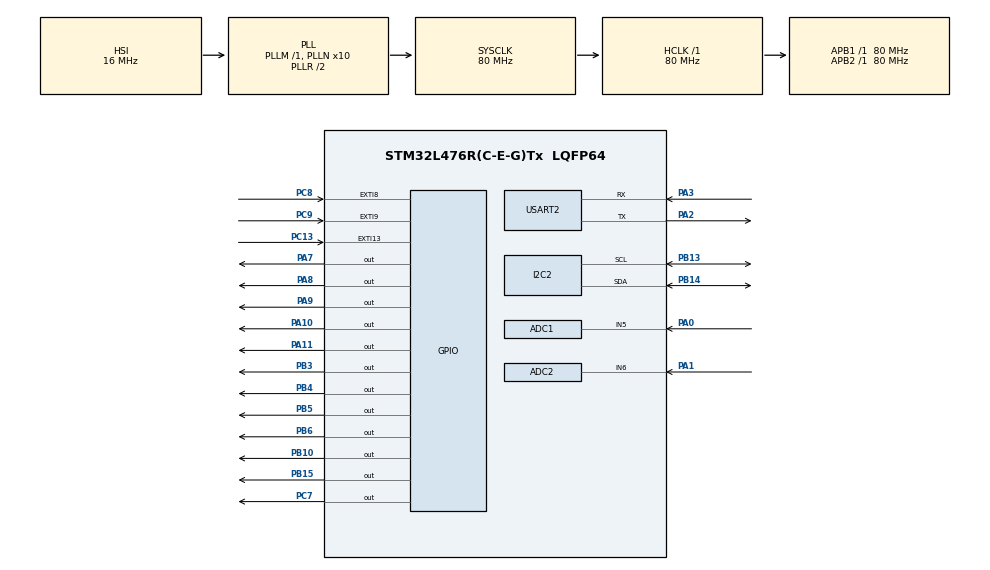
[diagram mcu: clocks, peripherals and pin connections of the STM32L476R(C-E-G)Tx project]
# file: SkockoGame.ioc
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ADC1.Channel-0\#ChannelRegularConversion=ADC_CHANNEL_5
ADC1.NbrOfConversionFlag=1
ADC1.OffsetNumber-0\#ChannelRegularConversion=ADC_OFFSET_NONE
ADC1.Rank-0\#ChannelRegularConversion=1
ADC1.SamplingTime-0\#ChannelRegularConversion=ADC_SAMPLETIME_47CYCLES_5
ADC1.master=1
ADC2.Channel-0\#ChannelRegularConversion=ADC_CHANNEL_6
ADC2.NbrOfConversion=1
ADC2.NbrOfConversionFlag=1
ADC2.OffsetNumber-0\#ChannelRegularConversion=ADC_OFFSET_NONE
ADC2.Rank-0\#ChannelRegularConversion=1
ADC2.SamplingTime-0\#ChannelRegularConversion=ADC_SAMPLETIME_92CYCLES_5
Dma.I2C2_TX.0.Direction=DMA_MEMORY_TO_PERIPH
Dma.I2C2_TX.0.Instance=DMA1_Channel4
Dma.I2C2_TX.0.MemDataAlignment=DMA_MDATAALIGN_BYTE
Dma.I2C2_TX.0.MemInc=DMA_MINC_ENABLE
Dma.I2C2_TX.0.Mode=DMA_NORMAL
Dma.I2C2_TX.0.PeriphDataAlignment=DMA_PDATAALIGN_BYTE
Dma.I2C2_TX.0.PeriphInc=DMA_PINC_DISABLE
Dma.I2C2_TX.0.Priority=DMA_PRIORITY_LOW
Dma.Request0=I2C2_TX
I2C2.Timing=0x00303D5B
Mcu.Family=STM32L4
Mcu.Name=STM32L476R(C-E-G)Tx
Mcu.Package=LQFP64
NVIC.ADC1_2_IRQn=true\:0\:0\:false\:false\:true\:true\:true\:true
NVIC.DMA1_Channel4_IRQn=true\:0\:0\:false\:false\:true\:false\:true\:true
NVIC.EXTI15_10_IRQn=true\:0\:0\:false\:false\:true\:true\:true\:true
NVIC.EXTI9_5_IRQn=true\:0\:0\:false\:false\:true\:true\:true\:true
NVIC.I2C2_EV_IRQn=true\:0\:0\:false\:false\:true\:true\:true\:true
NVIC.PriorityGroup=NVIC_PRIORITYGROUP_4
NVIC.TIM2_IRQn=true\:0\:0\:false\:false\:true\:true\:true\:true
NVIC.TIM3_IRQn=true\:0\:0\:false\:false\:true\:true\:true\:true
NVIC.TIM4_IRQn=true\:0\:0\:false\:false\:true\:true\:true\:true
NVIC.TIM5_IRQn=true\:0\:0\:false\:false\:true\:true\:true\:true
NVIC.USART2_IRQn=true\:0\:0\:false\:false\:true\:true\:true\:true
PA0.Signal=ADCx_IN5
PA1.Signal=ADCx_IN6
PA10.Signal=GPIO_Output
PA11.Signal=GPIO_Output
PA2.Mode=Asynchronous
PA2.Signal=USART2_TX
PA3.Mode=Asynchronous
PA3.Signal=USART2_RX
PA7.Signal=GPIO_Output
PA8.Signal=GPIO_Output
PA9.Signal=GPIO_Output
PB10.Signal=GPIO_Output
PB13.Mode=I2C
PB13.Signal=I2C2_SCL
PB14.Mode=I2C
PB14.Signal=I2C2_SDA
PB15.Signal=GPIO_Output
PB3\ (JTDO-TRACESWO).Signal=GPIO_Output
PB4\ (NJTRST).Signal=GPIO_Output
PB5.Signal=GPIO_Output
PB6.Signal=GPIO_Output
PC13.GPIO_ModeDefaultEXTI=GPIO_MODE_IT_FALLING
PC13.GPIO_PuPd=GPIO_PULLUP
PC13.Signal=GPXTI13
PC7.Signal=GPIO_Output
PC8.GPIO_ModeDefaultEXTI=GPIO_MODE_IT_FALLING
PC8.GPIO_PuPd=GPIO_PULLUP
PC8.Signal=GPXTI8
PC9.GPIO_ModeDefaultEXTI=GPIO_MODE_IT_FALLING
PC9.GPIO_PuPd=GPIO_PULLUP
PC9.Signal=GPXTI9
ProjectManager.HeapSize=0x200
ProjectManager.StackSize=0x400
ProjectManager.TargetToolchain=STM32CubeIDE
RCC.ADCFreq_Value=64000000
RCC.AHBFreq_Value=80000000
RCC.APB1Freq_Value=80000000
RCC.APB1TimFreq_Value=80000000
RCC.APB2Freq_Value=80000000
RCC.APB2TimFreq_Value=80000000
RCC.CortexFreq_Value=80000000
RCC.HCLKFreq_Value=80000000
RCC.HSE_VALUE=8000000
RCC.HSI_VALUE=16000000
RCC.I2C2CLockSelection=RCC_I2C2CLKSOURCE_HSI
RCC.LSE_VALUE=32768
RCC.MSI_VALUE=4000000
RCC.PLLN=10
RCC.PLLSourceVirtual=RCC_PLLSOURCE_HSI
RCC.PREFETCH_ENABLE=1
RCC.SYSCLKFreq_VALUE=80000000
RCC.SYSCLKSource=RCC_SYSCLKSOURCE_PLLCLK
RCC.USBFreq_Value=64000000
RCC.VCOOutputFreq_Value=160000000
SH.ADCx_IN5.0=ADC1_IN5,IN5-Single-Ended
SH.ADCx_IN6.0=ADC2_IN6,IN6-Single-Ended
TIM2.Period=400
TIM2.Prescaler=1000
TIM3.Period=2000
TIM3.Prescaler=8000
TIM4.AutoReloadPreload=TIM_AUTORELOAD_PRELOAD_DISABLE
TIM4.Period=60
TIM4.Prescaler=8000
TIM5.Period=331
TIM5.Prescaler=1000
USART2.VirtualMode-Asynchronous=VM_ASYNC
VP_TIM2_VS_ClockSourceINT.Mode=Internal
VP_TIM3_VS_ClockSourceINT.Mode=Internal
VP_TIM4_VS_ClockSourceINT.Mode=Internal
VP_TIM5_VS_ClockSourceINT.Mode=Internal
board=NUCLEO-L476RG

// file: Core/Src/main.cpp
/* USER CODE BEGIN Header */
/**
  ******************************************************************************
  * @file           : main.c
  * @brief          : Main program body
  ******************************************************************************
  * @attention
  *
  * Copyright (c) 2023 STMicroelectronics.
  * All rights reserved.
  *
  * This software is licensed under terms that can be found in the LICENSE file
  * in the root directory of this software component.
  * If no LICENSE file comes with this software, it is provided AS-IS.
  *
  ******************************************************************************
  */
/* USER CODE END Header */
#include "main.h"
#include "adc.h"
#include "dma.h"
#include "i2c.h"
#include "tim.h"
#include "gpio.h"
#include "usart.h"

/* USER CODE BEGIN Includes */
#include <string>
using std::string;
#include "skocko.h"
/* USER CODE END Includes */

void SystemClock_Config(void);
void PeriphCommonClock_Config(void);

/* USER CODE BEGIN 0 */

Skocko* Skocko::instancePointerSkocko = nullptr;
Skocko* mySkocko = nullptr;

/* USER CODE END 0 */

int main(void)
{

  /* MCU Configuration--------------------------------------------------------*/

  /* Reset of all peripherals, Initializes the Flash interface and the Systick. */
  HAL_Init();

  /* Configure the system clock */
  SystemClock_Config();

/* Configure the peripherals common clocks */
  PeriphCommonClock_Config();

  /* Initialize all configured peripherals */
  MX_GPIO_Init();
  MX_DMA_Init();
  MX_ADC1_Init();
  MX_ADC2_Init();
  MX_I2C2_Init();
  MX_TIM2_Init();
  MX_TIM3_Init();
  MX_TIM4_Init();
  MX_TIM5_Init();
  MX_USART2_UART_Init();
  /* USER CODE BEGIN 2 */

  ButtonPressed = BUTTON_NONE;
  ButtonEvent	= BUTTON_NONE;

  mySkocko = Skocko::GetInstance(&hi2c2);

  mySkocko->Init(&htim3, &htim5, &huart2);

  /* USER CODE END 2 */

  /* Infinite loop */
  while (1)
  {

  }
}

void SystemClock_Config(void)
{
  RCC_OscInitTypeDef RCC_OscInitStruct = {0};
  RCC_ClkInitTypeDef RCC_ClkInitStruct = {0};

  /** Configure the main internal regulator output voltage
  */
  if (HAL_PWREx_ControlVoltageScaling(PWR_REGULATOR_VOLTAGE_SCALE1) != HAL_OK)
  {
    Error_Handler();
  }

  /** Initializes the RCC Oscillators according to the specified parameters
  * in the RCC_OscInitTypeDef structure.
  */
  RCC_OscInitStruct.OscillatorType = RCC_OSCILLATORTYPE_HSI;
  RCC_OscInitStruct.HSIState = RCC_HSI_ON;
  RCC_OscInitStruct.HSICalibrationValue = RCC_HSICALIBRATION_DEFAULT;
  RCC_OscInitStruct.PLL.PLLState = RCC_PLL_ON;
  RCC_OscInitStruct.PLL.PLLSource = RCC_PLLSOURCE_HSI;
  RCC_OscInitStruct.PLL.PLLM = 1;
  RCC_OscInitStruct.PLL.PLLN = 10;
  RCC_OscInitStruct.PLL.PLLP = RCC_PLLP_DIV7;
  RCC_OscInitStruct.PLL.PLLQ = RCC_PLLQ_DIV2;
  RCC_OscInitStruct.PLL.PLLR = RCC_PLLR_DIV2;
  if (HAL_RCC_OscConfig(&RCC_OscInitStruct) != HAL_OK)
  {
    Error_Handler();
  }

  /** Initializes the CPU, AHB and APB buses clocks
  */
  RCC_ClkInitStruct.ClockType = RCC_CLOCKTYPE_HCLK|RCC_CLOCKTYPE_SYSCLK
                              |RCC_CLOCKTYPE_PCLK1|RCC_CLOCKTYPE_PCLK2;
  RCC_ClkInitStruct.SYSCLKSource = RCC_SYSCLKSOURCE_PLLCLK;
  RCC_ClkInitStruct.AHBCLKDivider = RCC_SYSCLK_DIV1;
  RCC_ClkInitStruct.APB1CLKDivider = RCC_HCLK_DIV1;
  RCC_ClkInitStruct.APB2CLKDivider = RCC_HCLK_DIV1;

  if (HAL_RCC_ClockConfig(&RCC_ClkInitStruct, FLASH_LATENCY_4) != HAL_OK)
  {
    Error_Handler();
  }
}

void PeriphCommonClock_Config(void)
{
  RCC_PeriphCLKInitTypeDef PeriphClkInit = {0};

  /** Initializes the peripherals clock
  */
  PeriphClkInit.PeriphClockSelection = RCC_PERIPHCLK_ADC;
  PeriphClkInit.AdcClockSelection = RCC_ADCCLKSOURCE_PLLSAI1;
  PeriphClkInit.PLLSAI1.PLLSAI1Source = RCC_PLLSOURCE_HSI;
  PeriphClkInit.PLLSAI1.PLLSAI1M = 1;
  PeriphClkInit.PLLSAI1.PLLSAI1N = 8;
  PeriphClkInit.PLLSAI1.PLLSAI1P = RCC_PLLP_DIV7;
  PeriphClkInit.PLLSAI1.PLLSAI1Q = RCC_PLLQ_DIV2;
  PeriphClkInit.PLLSAI1.PLLSAI1R = RCC_PLLR_DIV2;
  PeriphClkInit.PLLSAI1.PLLSAI1ClockOut = RCC_PLLSAI1_ADC1CLK;
  if (HAL_RCCEx_PeriphCLKConfig(&PeriphClkInit) != HAL_OK)
  {
    Error_Handler();
  }
}

/* USER CODE BEGIN 4 */

void UpdateBrightnessFromADC(void){
	uint32_t adcRes = ADC_result[RED_POT];
	mySkocko->SetBrightness(adcRes);
}

void UpdateSkockoSymbolFromADC(void){
	string symbol;
	if(ADC_result[BLACK_POT] < ADC_SKOCKO){
		mySkocko->SetSymbol(mySkocko->GetCurrentPosition(), mySkocko->SKOCKO);
	}
	else if(ADC_result[BLACK_POT] < ADC_ZVEZDA){
		mySkocko->SetSymbol(mySkocko->GetCurrentPosition(), mySkocko->ZVEZDA);
	}
	else if(ADC_result[BLACK_POT] < ADC_PIK){
		mySkocko->SetSymbol(mySkocko->GetCurrentPosition(), mySkocko->PIK);
	}
	else if(ADC_result[BLACK_POT] < ADC_HERC){
		mySkocko->SetSymbol(mySkocko->GetCurrentPosition(), mySkocko->HERC);
	}
	else if(ADC_result[BLACK_POT] < ADC_TREF){
		mySkocko->SetSymbol(mySkocko->GetCurrentPosition(), mySkocko->TREF);
	}
	else{
		mySkocko->SetSymbol(mySkocko->GetCurrentPosition(), mySkocko->KARO);
	}
}

void Timer3Callback(void){
	if(mySkocko->GetState() == mySkocko->ST_WAITING_BRIGHTNESS){
		/* If we are in state of adjusting brightness, then we use this timer for refreshing OLED brightness
		 * so user can see and choose which brightness is the most acceptable to him. */
		HAL_ADC_Start_IT(&hadc1);
	}
	else if (mySkocko->GetState() == mySkocko->ST_RECEIVING_COMB){
		/* In other situation, we use this timer for refreshing OLED content, on which is displayed current
		 * combination which user are choosing. */
		HAL_ADC_Start_IT(&hadc2);
		mySkocko->RefreshOLED();
	}
}

void ButtonPressedEventCallback(void){
	if ((ButtonPressed & BLUE_BUTTON) == BLUE_BUTTON){
		ButtonPressed &= ~(BLUE_BUTTON);
		uint8_t skockoState = mySkocko->GetState();
		switch(skockoState){
		case Skocko::ST_WAITING_PLAYER_NAME:
			mySkocko->SetupBrightness();
			break;
		case Skocko::ST_WAITING_BRIGHTNESS:
			mySkocko->ConfirmBrightness();
			break;
		case Skocko::ST_WAITING_TO_START:
			mySkocko->StartSkocko();
			break;
		case Skocko::ST_RECEIVING_COMB:
			mySkocko->ConfirmComb();
			break;
		case Skocko::ST_WAITING_NEXT_COMB:
			mySkocko->NewComb();
			break;
		case Skocko::ST_GAME_END:
			mySkocko->PrintGameInfo();
			mySkocko->StartSkocko();
			break;
		default:
			break;
		}
	}
	else if((ButtonPressed & BUTTON_1) == BUTTON_1){
		ButtonPressed &= ~(BUTTON_1);
		uint8_t skockoState = mySkocko->GetState();
		switch(skockoState){
		case Skocko::ST_WAITING_PLAYER_NAME:
			mySkocko->SetupBrightness();
			break;
		case Skocko::ST_WAITING_BRIGHTNESS:
			mySkocko->ConfirmBrightness();
			break;
		case Skocko::ST_WAITING_TO_START:
			mySkocko->StartSkocko();
			break;
		case Skocko::ST_RECEIVING_COMB:
			mySkocko->DecrementPosition();
			break;
		case Skocko::ST_WAITING_NEXT_COMB:
			mySkocko->NewComb();
			break;
		case Skocko::ST_GAME_END:
			mySkocko->PrintGameInfo();
			mySkocko->StartSkocko();
			break;
		default:
			break;
		}
	}
	else if((ButtonPressed & BUTTON_2) == BUTTON_2){
		ButtonPressed &= ~(BUTTON_2);
		uint8_t skockoState = mySkocko->GetState();
		switch(skockoState){
		case Skocko::ST_WAITING_PLAYER_NAME:
			mySkocko->SetupBrightness();
			break;
		case Skocko::ST_WAITING_BRIGHTNESS:
			mySkocko->ConfirmBrightness();
			break;
		case Skocko::ST_WAITING_TO_START:
			mySkocko->StartSkocko();
			break;
		case Skocko::ST_RECEIVING_COMB:
			mySkocko->IncrementPosition();
			break;
		case Skocko::ST_WAITING_NEXT_COMB:
			mySkocko->NewComb();
			break;
		case Skocko::ST_GAME_END:
			mySkocko->PrintGameInfo();
			mySkocko->StartSkocko();
			break;
		default:
			break;
		}
	}
	else{
		return;
	}
}

/* USER CODE END 4 */

void Error_Handler(void)
{
  __disable_irq();
  while (1)
  {
  }
}
